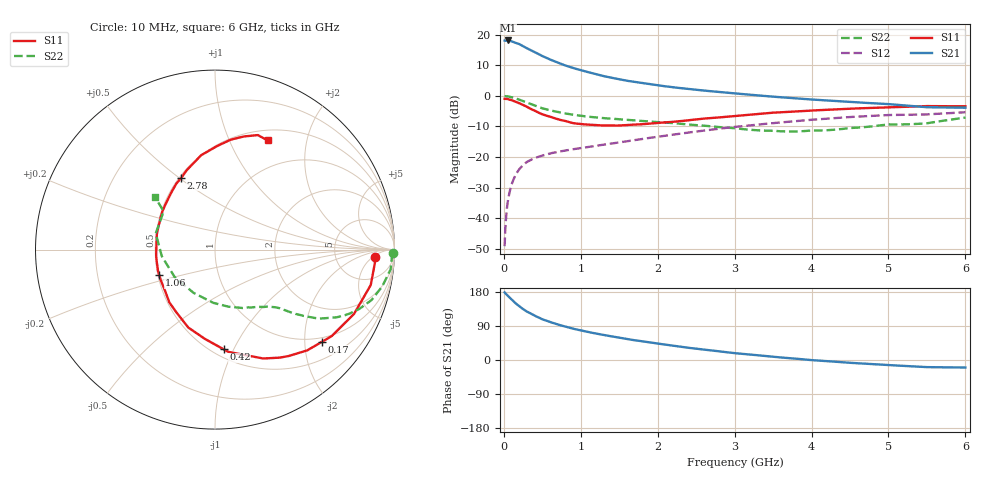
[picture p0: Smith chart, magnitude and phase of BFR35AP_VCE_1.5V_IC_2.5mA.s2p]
! Infineon Technologies  Discrete & RF Semiconductors
! BFR35AP
! VCE =  1.5 V,  IC =  2.5 mA
! Common Emitter S-Parameters:  Nov 2015
# GHz  S  MA  R  50
!  f  S11  S21  S12  S22
! GHz  MAG  ANG  MAG  ANG  MAG  ANG  MAG  ANG
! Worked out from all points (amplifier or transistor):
!   210 points, 10 MHz to 6 GHz, reference 50 ohm
!   highest |S21| = 18.1 dB at 50 MHz (marker M1)
!   |S21| within 3 dB of that: start of sweep to 335.4 MHz
!   unconditionally stable (mu >= 1): 1.012 GHz to end of sweep
!   at 185 MHz: K = 0.25, MSG = 20.8 dB, |S12| = -24.5 dB
!   at 1.52 GHz: K = 1.17, MAG = 7.7 dB, |S12| = -15.1 dB
!   at 6 GHz: K = 1.03, MAG = -0.3 dB, |S12| = -5.3 dB
!   S11 on the Smith chart (normalised r, x): 10 MHz: 15, -6; 170 MHz: 0.89, -2.41; 420 MHz: 0.57, -0.91; 1.06 GHz: 0.51, -0.16; 2.78 GHz: 0.51, +0.51; 6 GHz: 0.63, +1.40
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0.01  0.8933 -2.5  8.025 178.3  0.0035 88.2  0.9942 -1.2
0.025  0.8919 -6.3  7.956 174.8  0.0089 86.2  0.9857 -3.1
0.05  0.89 -12.8  8.051 169.8  0.0182 83.6  0.9847 -6.4
0.1  0.8535 -24.8  7.82 160.1  0.0354 76.4  0.9538 -12.5
0.15  0.8095 -36.5  7.391 150.1  0.0503 69.5  0.9161 -17.9
0.17  0.7868 -40.7  7.226 146.9  0.0554 67.3  0.8965 -19.6
0.2  0.7613 -47.5  7.024 141.8  0.0633 64.6  0.8688 -22.4
0.26  0.7021 -59.0  6.39 133.0  0.0758 58.8  0.8107 -26.8
0.3  0.6636 -66.1  5.999 127.7  0.0833 56.4  0.7758 -29.1
0.42  0.5573 -85.1  5.06 115.1  0.0983 50.2  0.6811 -34.1
0.5  0.5004 -96.5  4.482 107.4  0.1057 47.8  0.6264 -36.4
0.7  0.4164 -119.8  3.505 93.5  0.1215 44.4  0.5462 -39.7
0.9  0.3593 -140.9  2.859 82.5  0.1344 43.8  0.4911 -41.9
1.02  0.3451 -151.9  2.588 77.2  0.1415 43.8  0.4693 -43.4
1.06  0.3415 -155.6  2.511 75.5  0.1439 44.0  0.4629 -43.9
1.4  0.3273 178.7  1.974 62.3  0.1663 44.4  0.4251 -48.7
2.02  0.3635 143.3  1.478 42.8  0.2173 44.7  0.3705 -60.4
2.78  0.4426 115.1  1.166 23.3  0.2893 40.7  0.3104 -83.0
3.1  0.4803 107.1  1.072 16.3  0.3201 37.6  0.2872 -96.4
4.1  0.5845 87.4  0.857 -1.6  0.4153 26.2  0.272 -151.3
5.1  0.6563 74.3  0.717 -14.5  0.4882 12.3  0.3412 160.3
6  0.6752 64.2  0.64 -19.9  0.5406 2.1  0.4422 138.9
